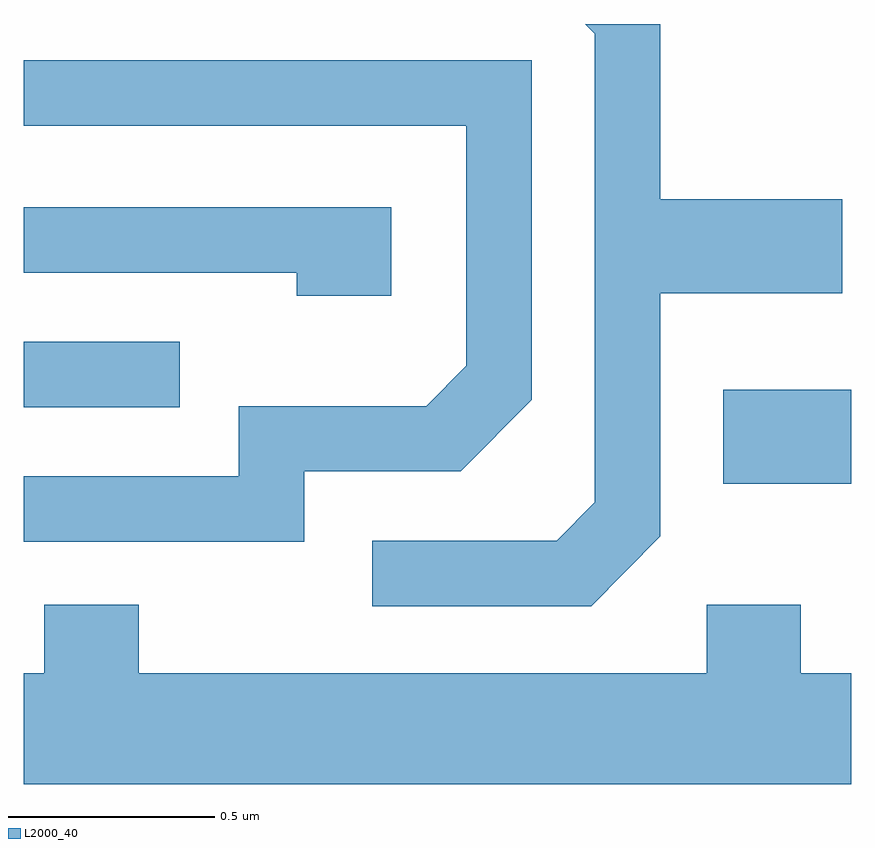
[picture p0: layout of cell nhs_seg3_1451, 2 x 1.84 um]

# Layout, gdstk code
import gdstk
lib = gdstk.Library(unit=1e-6, precision=1e-09)
def R(c, l, rs):  # rectangles x0, y0, x1, y1
    for r in rs: c.add(gdstk.rectangle(r[:2], r[2:], *l))
def P(c, l, *ps):  # polygons
    for p in ps: c.add(gdstk.Polygon(p, *l))
L2000_40 = (2000, 40)

nhs_seg3_1451 = lib.new_cell('nhs_seg3_1451')
R(nhs_seg3_1451, L2000_40, [(197.301,1197.781,197.611,1198.009), (195.611,1197.966,195.988,1198.124)])
P(nhs_seg3_1451, L2000_40, [(197.149,1197.654),(197.149,1198.241),(197.589,1198.241),(197.589,1198.469),(197.149,1198.469),(197.149,1198.892),(196.968,1198.892),(196.991,1198.869),(196.991,1197.737),(196.899,1197.644),(196.453,1197.644),(196.453,1197.486),(196.982,1197.486)],
  [(196.289,1197.811),(196.667,1197.811),(196.839,1197.984),(196.839,1198.804),(195.611,1198.804),(195.611,1198.646),(196.681,1198.646),(196.681,1198.067),(196.584,1197.969),(196.131,1197.969),(196.131,1197.799),(195.611,1197.799),(195.611,1197.641),(196.289,1197.641)],
  [(196.499,1198.449),(195.611,1198.449),(195.611,1198.291),(196.271,1198.291),(196.271,1198.236),(196.499,1198.236)],
  [(197.611,1197.324),(197.489,1197.324),(197.489,1197.489),(197.261,1197.489),(197.261,1197.324),(195.889,1197.324),(195.889,1197.489),(195.661,1197.489),(195.661,1197.324),(195.611,1197.324),(195.611,1197.056),(197.611,1197.056)])

lib.write_gds('nhs_seg3_1451.gds')
